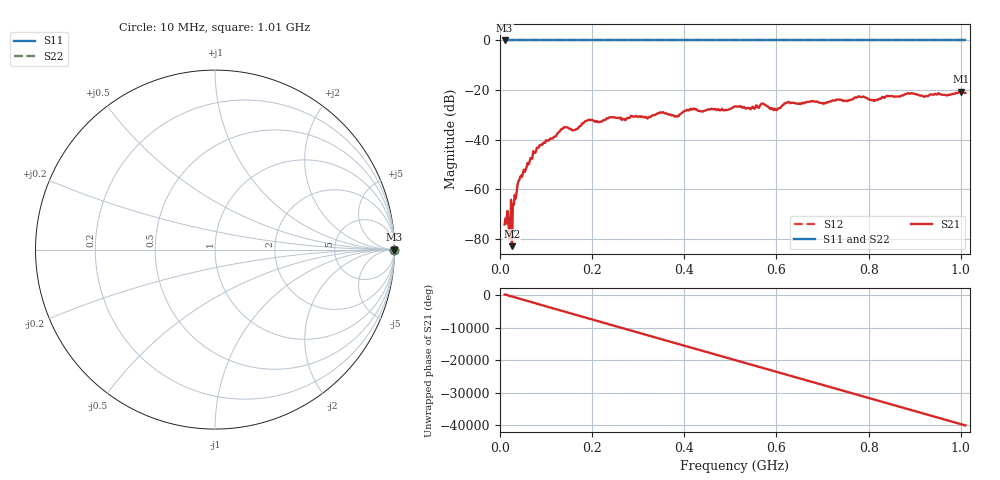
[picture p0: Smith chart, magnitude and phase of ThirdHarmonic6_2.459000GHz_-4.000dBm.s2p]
! 8/17/2025 4:26:39 AM
! C:\ANRITSUVNA\TEMP\TEMP.S2P
! CHANNEL.1
! TR.MEASUREMENT
! RAW.DATA
! RF.CORRECTION.OFF
! AVERAGING.OFF
! IF.BANDWIDTH: 5KHZ
! SWEEPTYPE:  FREQ.SWEEP(Linear)
! Reference Plane Port Info
! PORT:  PORT1  PORT2
! DISTANCE:  0  m  0  m
! TIME:  0  s  0  s
! PHASE.OFFSET:  0  deg.  0  deg.
! LOSS:  0  dB  0  dB
! REF.LOSS:  0  dB  0  dB
! REF.FREQ:  0  Hz  0  Hz
! Power Info
! POWER:  -20  dBm  -20  dBm
! EFF.POWER:  -20  dBm  -20  dBm
! SOURCE.ATTEN:  0  dB  0  dB
! TEST.ATTEN:  0  dB  0  dB
# GHZ S RI R 50.0
! FREQ.GHZ  S11RE  S11IM  S21RE  S21IM  S12RE  S12IM  S22RE  S22IM
!; PortSelection: Port_12
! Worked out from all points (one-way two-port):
!   501 points, 10 MHz to 1.01 GHz, reference 50 ohm
!   highest |S21| = -20.62 dB at 1 GHz (marker M1); lowest = -83.0 dB at 26 MHz (marker M2)
!   lowest |S11| = 0.0 dB at 10 MHz (marker M3)
!   |S11| at or under -10 dB: nowhere
!   |S22| runs from 0.0 to 0.0 dB; largest |S21 - S12| = 1.1
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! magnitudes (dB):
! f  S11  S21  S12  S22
! 10 MHz  0.0  -74.3  0.0  0.0
! 14 MHz  0.0  -73.9  0.0  0.0
! 18 MHz  0.0  -72.1  0.0  0.0
! 20 MHz  0.0  -80.2  0.0  0.0
! 22 MHz  0.0  -75.9  0.0  0.0
! 26 MHz  0.0  -83.0  0.0  0.0
! 42 MHz  0.0  -56.2  0.0  0.0
! 76 MHz  0.0  -45.5  0.0  0.0
! 136 MHz  0.0  -35.7  0.0  0.0
! 160 MHz  0.0  -36.2  0.0  0.0
! 178 MHz  0.0  -33.5  0.0  0.0
! 344 MHz  0.0  -29.4  0.0  0.0
! 384 MHz  0.0  -30.6  0.0  0.0
! 416 MHz  0.0  -27.9  0.0  0.0
! 510 MHz  0.0  -26.6  0.0  0.0
! 570 MHz  0.0  -25.5  0.0  0.0
! 598 MHz  0.0  -27.8  0.0  0.0
! 622 MHz  0.0  -25.2  0.0  0.0
! 678 MHz  0.0  -24.4  0.0  0.0
! 844 MHz  0.0  -22.5  0.0  0.0
! 1 GHz  0.0  -20.6  0.0  0.0
! 1.01 GHz  0.0  -21.2  0.0  0.0
